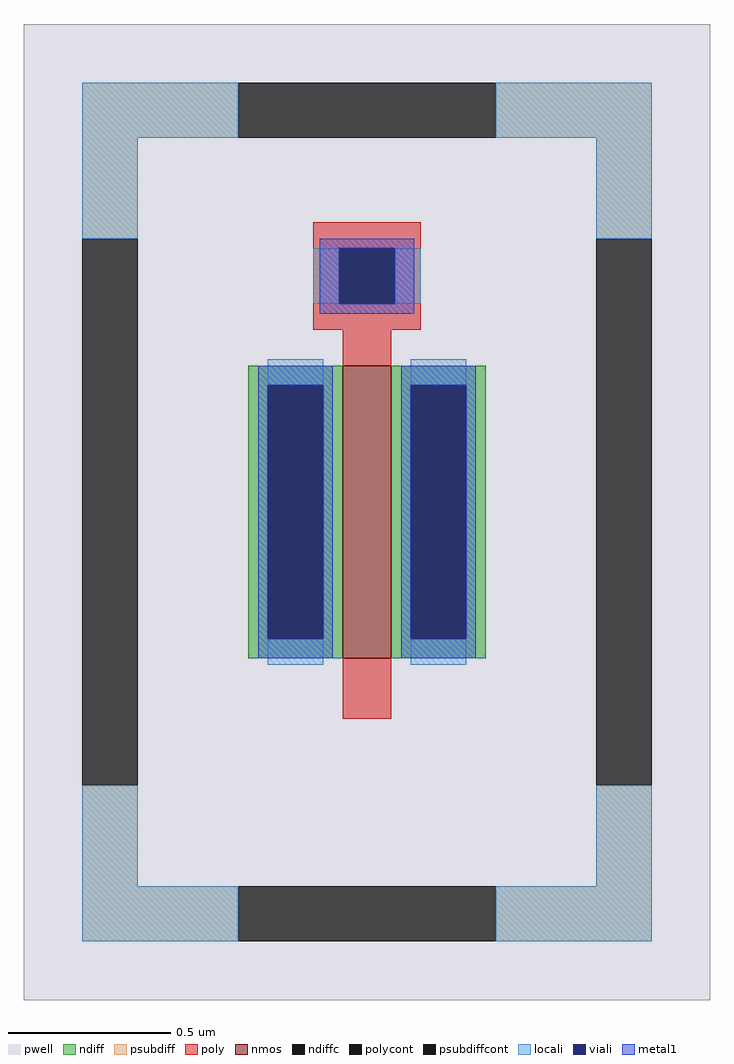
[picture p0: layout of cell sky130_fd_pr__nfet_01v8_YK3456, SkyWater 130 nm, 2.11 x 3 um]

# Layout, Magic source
magic
tech sky130A
magscale 1 2
<< pwell >>
rect -211 -300 211 300
<< nmos >>
rect -15 -90 15 90
<< ndiff >>
rect -73 78 -15 90
rect -73 -78 -61 78
rect -27 -78 -15 78
rect -73 -90 -15 -78
rect 15 78 73 90
rect 15 -78 27 78
rect 61 -78 73 78
rect 15 -90 73 -78
<< ndiffc >>
rect -61 -78 -27 78
rect 27 -78 61 78
<< psubdiff >>
rect -175 230 -79 264
rect 79 230 175 264
rect -175 168 -141 230
rect 141 168 175 230
rect -175 -230 -141 -168
rect 141 -230 175 -168
rect -175 -264 -79 -230
rect 79 -264 175 -230
<< psubdiffcont >>
rect -79 230 79 264
rect -175 -168 -141 168
rect 141 -168 175 168
rect -79 -264 79 -230
<< poly >>
rect -33 162 33 178
rect -33 128 -17 162
rect 17 128 33 162
rect -33 112 33 128
rect -15 90 15 112
rect -15 -127 15 -90
<< polycont >>
rect -17 128 17 162
<< locali >>
rect -175 230 -79 264
rect 79 230 175 264
rect -175 168 -141 230
rect 141 168 175 230
rect -33 128 -17 162
rect 17 128 33 162
rect -61 78 -27 94
rect -61 -94 -27 -78
rect 27 78 61 94
rect 27 -94 61 -78
rect -175 -230 -141 -168
rect 141 -230 175 -168
rect -175 -264 -79 -230
rect 79 -264 175 -230
<< viali >>
rect -17 128 17 162
rect -61 -78 -27 78
rect 27 -78 61 78
<< metal1 >>
rect -29 162 29 168
rect -29 128 -17 162
rect 17 128 29 162
rect -29 122 29 128
rect -67 78 -21 90
rect -67 -78 -61 78
rect -27 -78 -21 78
rect -67 -90 -21 -78
rect 21 78 67 90
rect 21 -78 27 78
rect 61 -78 67 78
rect 21 -90 67 -78
<< properties >>
string gencell sky130_fd_pr__nfet_01v8
string FIXED_BBOX -158 -247 158 247
string parameters w 0.9 l 0.150 m 1 nf 1 diffcov 100 polycov 100 guard 1 glc 1 grc 1 gtc 1 gbc 1 tbcov 100 rlcov 100 topc 1 botc 1 poverlap 0 doverlap 1 lmin 0.15 wmin 0.42 compatible {sky130_fd_pr__nfet_01v8 sky130_fd_pr__nfet_01v8_lvt  sky130_fd_bs_flash__special_sonosfet_star  sky130_fd_pr__nfet_g5v0d10v5 sky130_fd_pr__nfet_05v0_nvt} full_metal 1 viasrc 100 viadrn 100 viagate 100 viagb 0 viagr 0 viagl 0 viagt 0
string library sky130
<< end >>
